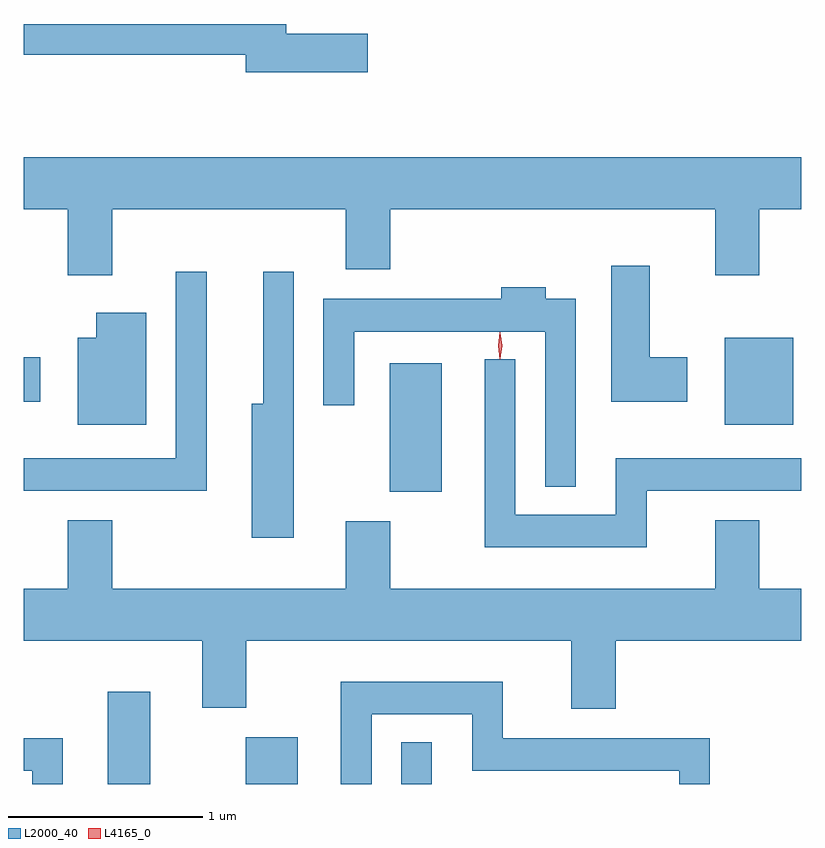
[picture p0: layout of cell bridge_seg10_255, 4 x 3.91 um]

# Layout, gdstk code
import gdstk
lib = gdstk.Library(unit=1e-6, precision=1e-09)
def R(c, l, rs):  # rectangles x0, y0, x1, y1
    for r in rs: c.add(gdstk.rectangle(r[:2], r[2:], *l))
def P(c, l, *ps):  # polygons
    for p in ps: c.add(gdstk.Polygon(p, *l))
L2000_40 = (2000, 40)
L4165_0 = (4165, 0)

bridge_seg10_255 = lib.new_cell('bridge_seg10_255')
R(bridge_seg10_255, L2000_40, [(1808.146,2099.858,1808.364,2100.334), (1808.856,2099.858,1809.124,2100.099), (1809.656,2099.858,1809.814,2100.073), (1809.596,2101.361,1809.864,2102.024), (1811.321,2101.706,1811.674,2102.154), (1807.714,2101.826,1807.799,2102.054)])
P(bridge_seg10_255, L2000_40, [(1809.484,2103.719),(1809.064,2103.719),(1809.064,2103.769),(1807.714,2103.769),(1807.714,2103.611),(1808.856,2103.611),(1808.856,2103.521),(1809.484,2103.521)],
  [(1808.169,2102.816),(1809.371,2102.816),(1809.371,2102.506),(1809.599,2102.506),(1809.599,2102.816),(1811.271,2102.816),(1811.271,2102.476),(1811.499,2102.476),(1811.499,2102.816),(1811.714,2102.816),(1811.714,2103.084),(1807.714,2103.084),(1807.714,2102.816),(1807.941,2102.816),(1807.941,2102.476),(1808.169,2102.476)],
  [(1811.129,2102.054),(1810.934,2102.054),(1810.934,2102.524),(1810.736,2102.524),(1810.736,2101.826),(1811.129,2101.826)],
  [(1808.654,2102.493),(1808.496,2102.493),(1808.496,2101.534),(1807.714,2101.534),(1807.714,2101.366),(1808.654,2101.366)],
  [(1809.104,2102.493),(1808.946,2102.493),(1808.946,2101.814),(1808.886,2101.814),(1808.886,2101.126),(1809.104,2101.126)],
  [(1810.554,2102.354),(1810.399,2102.354),(1810.399,2102.414),(1810.171,2102.414),(1810.171,2102.354),(1809.256,2102.354),(1809.256,2101.808),(1809.414,2101.808),(1809.414,2102.186),(1810.396,2102.186),(1810.396,2101.388),(1810.554,2101.388)],
  [(1808.344,2102.284),(1808.086,2102.284),(1808.086,2102.154),(1807.991,2102.154),(1807.991,2101.706),(1808.344,2101.706)],
  [(1810.919,2101.366),(1811.714,2101.366),(1811.714,2101.534),(1810.761,2101.534),(1810.761,2101.244),(1810.244,2101.244),(1810.244,2102.043),(1810.086,2102.043),(1810.086,2101.076),(1810.919,2101.076)],
  [(1810.759,2100.596),(1811.714,2100.596),(1811.714,2100.864),(1811.499,2100.864),(1811.499,2101.214),(1811.271,2101.214),(1811.271,2100.864),(1809.599,2100.864),(1809.599,2101.209),(1809.371,2101.209),(1809.371,2100.864),(1808.169,2100.864),(1808.169,2101.214),(1807.941,2101.214),(1807.941,2100.864),(1807.714,2100.864),(1807.714,2100.596),(1808.631,2100.596),(1808.631,2100.251),(1808.859,2100.251),(1808.859,2100.596),(1810.531,2100.596),(1810.531,2100.246),(1810.759,2100.246)],
  [(1809.504,2100.216),(1810.021,2100.216),(1810.021,2099.926),(1811.086,2099.926),(1811.086,2099.858),(1811.244,2099.858),(1811.244,2100.094),(1810.179,2100.094),(1810.179,2100.384),(1809.346,2100.384),(1809.346,2099.858),(1809.504,2099.858)],
  [(1807.914,2100.094),(1807.714,2100.094),(1807.714,2099.926),(1807.756,2099.926),(1807.756,2099.858),(1807.914,2099.858)])
P(bridge_seg10_255, L4165_0, [(1810.165,2102.047),(1810.164,2102.048),(1810.155,2102.114),(1810.164,2102.18),(1810.165,2102.18),(1810.165,2102.18),(1810.175,2102.114),(1810.165,2102.048)],
  [(1810.164,2102.044),(1810.164,2102.044),(1810.154,2102.113),(1810.164,2102.182),(1810.164,2102.183),(1810.165,2102.182),(1810.174,2102.113),(1810.165,2102.044)])

lib.write_gds('bridge_seg10_255.gds')
